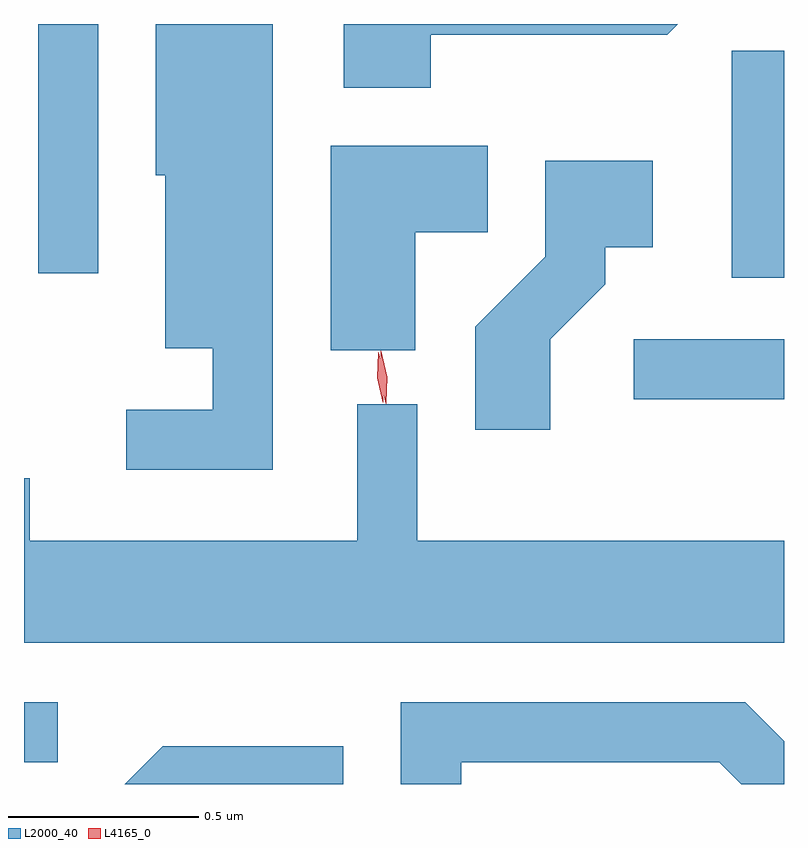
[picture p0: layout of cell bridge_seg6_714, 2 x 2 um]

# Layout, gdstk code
import gdstk
lib = gdstk.Library(unit=1e-6, precision=1e-09)
def R(c, l, rs):  # rectangles x0, y0, x1, y1
    for r in rs: c.add(gdstk.rectangle(r[:2], r[2:], *l))
def P(c, l, *ps):  # polygons
    for p in ps: c.add(gdstk.Polygon(p, *l))
L2000_40 = (2000, 40)
L4165_0 = (4165, 0)

bridge_seg6_714 = lib.new_cell('bridge_seg6_714')
R(bridge_seg6_714, L2000_40, [(269.239,1538.621,269.328,1538.779), (270.843,1539.576,271.239,1539.734), (271.101,1539.896,271.239,1540.494), (269.276,1539.908,269.434,1540.564)])
P(bridge_seg6_714, L2000_40, [(269.894,1540.564),(269.586,1540.564),(269.586,1540.166),(269.611,1540.166),(269.611,1539.711),(269.736,1539.711),(269.736,1539.549),(269.508,1539.549),(269.508,1539.391),(269.894,1539.391)],
  [(270.309,1540.536),(270.932,1540.536),(270.96,1540.564),(270.081,1540.564),(270.081,1540.396),(270.309,1540.396)],
  [(270.269,1540.016),(270.459,1540.016),(270.459,1540.244),(270.046,1540.244),(270.046,1539.706),(270.269,1539.706)],
  [(270.624,1539.734),(270.769,1539.879),(270.769,1539.976),(270.894,1539.976),(270.894,1540.204),(270.611,1540.204),(270.611,1539.952),(270.426,1539.767),(270.426,1539.496),(270.624,1539.496)],
  [(271.239,1539.204),(270.274,1539.204),(270.274,1539.563),(270.116,1539.563),(270.116,1539.204),(269.254,1539.204),(269.254,1539.369),(269.239,1539.369),(269.239,1538.936),(271.239,1538.936)],
  [(270.389,1538.621),(271.069,1538.621),(271.126,1538.564),(271.239,1538.564),(271.239,1538.677),(271.137,1538.779),(270.231,1538.779),(270.231,1538.564),(270.389,1538.564)],
  [(270.079,1538.664),(269.604,1538.664),(269.504,1538.564),(270.079,1538.564)])
P(bridge_seg6_714, L4165_0, [(270.183,1539.568),(270.168,1539.633),(270.171,1539.699),(270.171,1539.7),(270.172,1539.699),(270.187,1539.635),(270.184,1539.568),(270.184,1539.568)],
  [(270.192,1539.565),(270.191,1539.566),(270.175,1539.634),(270.178,1539.703),(270.178,1539.704),(270.179,1539.703),(270.195,1539.635),(270.192,1539.566)])

lib.write_gds('bridge_seg6_714.gds')
